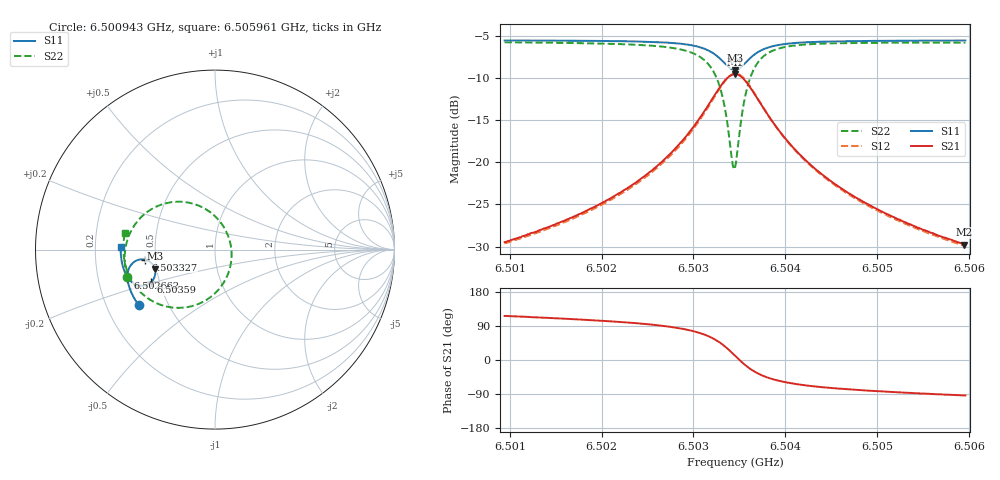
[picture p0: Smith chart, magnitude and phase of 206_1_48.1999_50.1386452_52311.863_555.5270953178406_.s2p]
#  HZ  S  RI  R  50.00
! Rohde & Schwarz Vector Network Analyzer
! Rohde-Schwarz,ZNB20-2Port,1311601062101988,3.16
! Created: UTC 3/20/2024, 11:45:14 AM
! freq[Hz]  re:S11  im:S11  re:S21  im:S21  re:S12  im:S12  re:S22  im:S22
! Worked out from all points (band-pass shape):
!   401 points, 6.500943 GHz to 6.505961 GHz, reference 50 ohm
!   highest |S21| = -9.56 dB at 6.503452 GHz (marker M1); lowest = -29.8 dB at 6.505949 GHz (marker M2)
!   |S21| within 3 dB of the highest: 6.503201 GHz to 6.503702 GHz (501.5 kHz wide, 0.00771 % of centre)
!   lowest |S11| = -9.1 dB at 6.503452 GHz (marker M3), VSWR 2.09, Z = 24.4 - j5.93 ohm
!   |S11| at or under -10 dB: nowhere
!   |S22| runs from -20.8 to -5.8 dB; largest |S21 - S12| = 0.012
!   S11 on the Smith chart (normalised r, x): 6.500943 GHz: 0.34, -0.29; 6.502662 GHz: 0.33, -0.14; 6.503327 GHz: 0.44, -0.06; 6.50359 GHz: 0.45, -0.19; 6.505961 GHz: 0.31, +0.01
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6.5009433e9  -0.426 -0.3095  -0.0148 0.0301  -0.0132 0.0303  -0.4898 -0.1548
6.5017838e9  -0.4622 -0.2473  -0.0142 0.0479  -0.0118 0.0474  -0.5029 -0.0654
6.5022229e9  -0.4777 -0.2085  -0.0116 0.066  -0.00866 0.0651  -0.5004 -0.00361
6.5026244e9  -0.4874 -0.1646  -0.00221 0.097  0.00141 0.0947  -0.4803 0.0761
6.502662e9  -0.4878 -0.1597  -0.000439 0.1012  0.00323 0.0987  -0.4763 0.0855
6.502938e9  -0.4836 -0.1166  0.0266 0.144  0.0303 0.1395  -0.4202 0.1716
6.5031262e9  -0.462 -0.0784  0.0814 0.1863  0.0837 0.1802  -0.3155 0.2444
6.5032391e9  -0.4291 -0.0578  0.1512 0.2038  0.1519 0.1975  -0.1894 0.2666
6.5033269e9  -0.3882 -0.0562  0.2316 0.1871  0.2319 0.1819  -0.0509 0.2247
6.5034147e9  -0.3461 -0.0848  0.3087 0.1136  0.3111 0.1088  0.0719 0.08
6.5034398e9  -0.3383 -0.0987  0.3218 0.0822  0.3249 0.0768  0.0883 0.0212
6.5034523e9  -0.3356 -0.1064  0.326 0.0657  0.3294 0.0597  0.0921 -0.00973
6.5035401e9  -0.3401 -0.1599  0.3102 -0.047  0.3124 -0.0573  0.0318 -0.2084
6.5035903e9  -0.3569 -0.1819  0.2763 -0.0927  0.2757 -0.1041  -0.046 -0.2792
6.5036907e9  -0.3971 -0.2007  0.1994 -0.1351  0.1945 -0.1451  -0.202 -0.3245
6.5038538e9  -0.4454 -0.1928  0.1133 -0.1347  0.1062 -0.14  -0.3587 -0.2814
6.5040294e9  -0.4741 -0.1715  0.0663 -0.1143  0.0599 -0.1167  -0.435 -0.215
6.5042928e9  -0.4962 -0.14  0.034 -0.0883  0.0291 -0.0888  -0.4819 -0.1381
6.5046316e9  -0.5106 -0.1043  0.0161 -0.0668  0.0127 -0.0665  -0.503 -0.0694
6.5051334e9  -0.5211 -0.0576  0.00509 -0.0483  0.00273 -0.0475  -0.5103 0.00248
6.5059488e9  -0.526 0.0114  -0.00219 -0.0324  -0.00332 -0.0318  -0.5027 0.0891
6.5059613e9  -0.526 0.0125  -0.00199 -0.0325  -0.0035 -0.0316  -0.5024 0.0903
